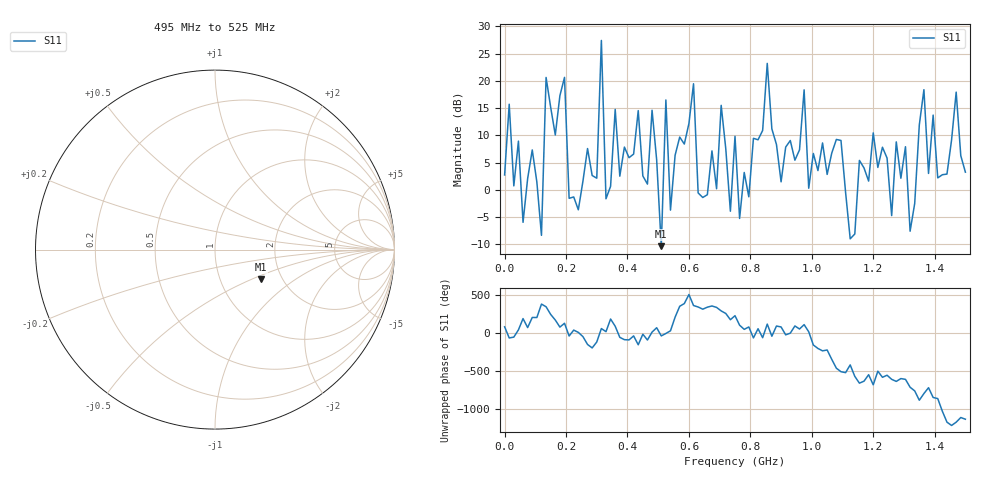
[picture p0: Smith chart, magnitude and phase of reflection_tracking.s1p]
! Created with skrf 1.8.0 (http://scikit-rf.org).
# Hz S RI R 50.0
!freq ReS11 ImS11
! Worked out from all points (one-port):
!   101 points, 50 kHz to 1.5 GHz, reference 50 ohm
!   lowest |S11| = -10.4 dB at 510 MHz (marker M1), VSWR 1.87, Z = 77.9 - j28.4 ohm
!   |S11| at or under -10 dB: 509.6997 MHz to 510.2296 MHz (529.9 kHz wide, 0.104 % of centre)
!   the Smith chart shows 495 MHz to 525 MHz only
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50000  0.0701 1.367
1.50495e7  3.053 -5.286
1.050465e8  -1.028 -0.5701
1.350455e8  10.59 -1.848
1.50045e8  -1.996 -5.353
1.80044e8  0.8889 7.27
1.950435e8  -7.373 7.85
2.10043e8  0.6888 -0.4725
3.0004e8  -0.4977 -1.177
3.150395e8  10.39 21.09
3.30039e8  0.7622 0.3213
3.750375e8  0.825 -1.047
5.10033e8  0.2547 -0.1654
5.70031e8  3.043 -0.1793
6.0003e8  -3.548 1.977
6.150295e8  9.348 1.072
6.30029e8  0.9134 -0.2045
7.50025e8  -1.872 -2.473
8.40022e8  1.951 -2.913
8.550215e8  -7.796 12.2
8.70021e8  2.892 -2.182
9.450185e8  -0.261 1.852
1.125012e9  0.2091 -0.2866
1.320006e9  0.4067 0.0904
1.365004e9  2.764 -7.829
1.380004e9  1.404 0.1608
1.470001e9  0.4683 -7.871
1.5e9  0.9743 -1.077
